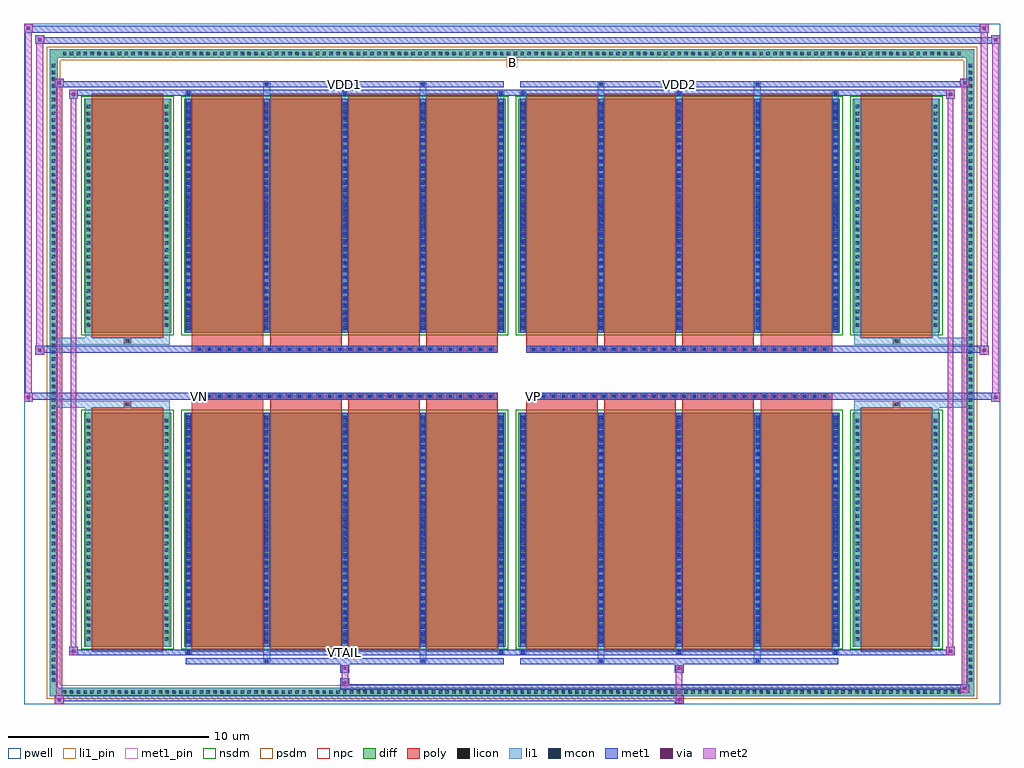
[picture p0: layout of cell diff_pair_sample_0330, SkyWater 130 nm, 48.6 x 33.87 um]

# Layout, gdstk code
import gdstk
lib = gdstk.Library(unit=1e-6, precision=5e-09)
def R(c, l, rs):  # rectangles x0, y0, x1, y1
    for r in rs: c.add(gdstk.rectangle(r[:2], r[2:], *l))
def A(c, l, x, y, w, h, nx, ny, dx, dy):  # array of equal rectangles
    R(c, l, [(x+i*dx, y+j*dy, x+i*dx+w, y+j*dy+h) for i in range(nx) for j in range(ny)])
def P(c, l, *ps):  # polygons
    for p in ps: c.add(gdstk.Polygon(p, *l))
pwell = (64, 44)
diff = (65, 20)
poly = (66, 20)
licon = (66, 44)
li1_pin = (67, 16)
li1 = (67, 20)
mcon = (67, 44)
met1_pin = (68, 16)
met1 = (68, 20)
via = (68, 44)
met2 = (69, 20)
nsdm = (93, 44)
psdm = (94, 20)
npc = (95, 20)

diff_pair_sample_0330 = lib.new_cell('diff_pair_sample_0330')
R(diff_pair_sample_0330, pwell, [(-24.3,-16.5,24.3,17.37), (-21.62,-14.69,-0.01,-0.805), (0.01,-14.69,21.62,-0.805), (-21.62,0.805,-0.01,14.69), (0.01,0.805,21.62,14.69)])
A(diff_pair_sample_0330, diff, -22.475, -16.1, 0.41, 0.41, 132, 2, 0.34, 31.79)
A(diff_pair_sample_0330, diff, -23.03, -15.505, 0.41, 0.41, 1, 91, 0, 0.34)
A(diff_pair_sample_0330, diff, 22.62, -15.505, 0.41, 0.41, 1, 91, 0, 0.34)
R(diff_pair_sample_0330, diff, [(-22.475,-16.1,22.475,-15.69), (-23.03,-15.505,-22.62,15.505), (22.62,-15.505,23.03,15.505), (-21.31,-13.645,-16.97,-1.985), (-16.33,-13.645,-0.32,-1.985), (0.32,-13.645,16.33,-1.985), (16.97,-13.645,21.31,-1.985), (-21.31,1.985,-16.97,13.645), (-16.33,1.985,-0.32,13.645), (0.32,1.985,16.33,13.645), (16.97,1.985,21.31,13.645), (-22.475,15.69,22.475,16.1)])
P(diff_pair_sample_0330, diff, [(23.03,16.1),(-23.03,16.1),(-23.03,-15.69),(-22.62,-15.69),(-22.62,15.69),(22.62,15.69),(22.62,-15.69),(-22.62,-15.69),(-23.03,-15.69),(-23.03,-16.1),(23.03,-16.1)])
A(diff_pair_sample_0330, poly, -15.94, -13.895, 3.56, 12.16, 4, 2, 3.89, 15.63)
A(diff_pair_sample_0330, poly, 0.71, -13.895, 3.56, 12.16, 4, 2, 3.89, 15.63)
A(diff_pair_sample_0330, poly, -15.94, -1.735, 3.56, 0.4, 4, 2, 3.89, 3.07)
A(diff_pair_sample_0330, poly, 0.71, -1.735, 3.56, 0.4, 4, 2, 3.89, 3.07)
A(diff_pair_sample_0330, poly, -15.74, -1.335, 0.33, 0.33, 30, 2, 0.5, 2.34)
A(diff_pair_sample_0330, poly, 0.91, -1.335, 0.33, 0.33, 30, 2, 0.5, 2.34)
R(diff_pair_sample_0330, poly, [(-20.92,-13.895,-17.36,-1.735), (17.36,-13.895,20.92,-1.735), (-19.305,-1.735,-18.975,-1.405), (-19.305,-1.735,-18.975,-1.405), (18.975,-1.735,19.305,-1.405), (18.975,-1.735,19.305,-1.405), (-15.94,-1.335,-0.71,-1.005), (0.71,-1.335,15.94,-1.005), (-15.94,1.005,-0.71,1.335), (0.71,1.005,15.94,1.335), (-19.305,1.405,-18.975,1.735), (-19.305,1.405,-18.975,1.735), (18.975,1.405,19.305,1.735), (18.975,1.405,19.305,1.735), (-20.92,1.735,-17.36,13.895), (17.36,1.735,20.92,13.895)])
A(diff_pair_sample_0330, licon, -22.355, -15.98, 0.17, 0.17, 132, 2, 0.34, 31.79)
A(diff_pair_sample_0330, licon, -22.91, -15.385, 0.17, 0.17, 1, 91, 0, 0.34)
A(diff_pair_sample_0330, licon, 22.74, -15.385, 0.17, 0.17, 1, 91, 0, 0.34)
A(diff_pair_sample_0330, licon, -21.17, -13.34, 0.17, 0.17, 1, 33, 0, 0.34)
A(diff_pair_sample_0330, licon, -17.28, -13.34, 0.17, 0.17, 1, 33, 0, 0.34)
A(diff_pair_sample_0330, licon, -16.19, -13.34, 0.17, 0.17, 5, 33, 3.89, 0.34)
A(diff_pair_sample_0330, licon, 0.46, -13.34, 0.17, 0.17, 5, 33, 3.89, 0.34)
A(diff_pair_sample_0330, licon, 17.11, -13.34, 0.17, 0.17, 1, 33, 0, 0.34)
A(diff_pair_sample_0330, licon, 21, -13.34, 0.17, 0.17, 1, 33, 0, 0.34)
A(diff_pair_sample_0330, licon, -15.66, -1.255, 0.17, 0.17, 30, 2, 0.5, 2.34)
A(diff_pair_sample_0330, licon, 0.99, -1.255, 0.17, 0.17, 30, 2, 0.5, 2.34)
A(diff_pair_sample_0330, licon, -21.17, 2.29, 0.17, 0.17, 1, 33, 0, 0.34)
A(diff_pair_sample_0330, licon, -17.28, 2.29, 0.17, 0.17, 1, 33, 0, 0.34)
A(diff_pair_sample_0330, licon, -16.19, 2.29, 0.17, 0.17, 5, 33, 3.89, 0.34)
A(diff_pair_sample_0330, licon, 0.46, 2.29, 0.17, 0.17, 5, 33, 3.89, 0.34)
A(diff_pair_sample_0330, licon, 17.11, 2.29, 0.17, 0.17, 1, 33, 0, 0.34)
A(diff_pair_sample_0330, licon, 21, 2.29, 0.17, 0.17, 1, 33, 0, 0.34)
R(diff_pair_sample_0330, licon, [(-19.225,-1.655,-19.055,-1.485), (19.055,-1.655,19.225,-1.485), (-19.225,1.485,-19.055,1.655), (19.055,1.485,19.225,1.655)])
R(diff_pair_sample_0330, li1_pin, [(-0.25,15.19,0.25,15.69)])
A(diff_pair_sample_0330, li1, -22.435, -16.06, 0.33, 0.33, 132, 2, 0.34, 31.79)
A(diff_pair_sample_0330, li1, -22.99, -15.465, 0.33, 0.33, 1, 91, 0, 0.34)
A(diff_pair_sample_0330, li1, 22.66, -15.465, 0.33, 0.33, 1, 91, 0, 0.34)
A(diff_pair_sample_0330, li1, -16.27, -14.02, 0.33, 0.375, 3, 2, 7.78, 27.665)
A(diff_pair_sample_0330, li1, -16.19, -14.02, 0.17, 0.17, 3, 2, 7.78, 27.87)
A(diff_pair_sample_0330, li1, 0.38, -14.02, 0.33, 0.375, 3, 2, 7.78, 27.665)
A(diff_pair_sample_0330, li1, 0.46, -14.02, 0.17, 0.17, 3, 2, 7.78, 27.87)
A(diff_pair_sample_0330, li1, -16.27, -13.645, 0.33, 11.66, 5, 2, 3.89, 15.63)
A(diff_pair_sample_0330, li1, 0.38, -13.645, 0.33, 11.66, 5, 2, 3.89, 15.63)
A(diff_pair_sample_0330, li1, -16.19, -13.48, 0.17, 0.17, 5, 32, 3.89, 0.36)
A(diff_pair_sample_0330, li1, -16.19, -13.48, 0.17, 11.33, 5, 2, 3.89, 15.63)
A(diff_pair_sample_0330, li1, 0.46, -13.48, 0.17, 0.17, 5, 32, 3.89, 0.36)
A(diff_pair_sample_0330, li1, 0.46, -13.48, 0.17, 11.33, 5, 2, 3.89, 15.63)
A(diff_pair_sample_0330, li1, -21.25, -13.42, 0.33, 0.33, 1, 33, 0, 0.34)
A(diff_pair_sample_0330, li1, -17.36, -13.42, 0.33, 0.33, 1, 33, 0, 0.34)
A(diff_pair_sample_0330, li1, -16.27, -13.42, 0.33, 0.33, 5, 33, 3.89, 0.34)
A(diff_pair_sample_0330, li1, 0.38, -13.42, 0.33, 0.33, 5, 33, 3.89, 0.34)
A(diff_pair_sample_0330, li1, 17.03, -13.42, 0.33, 0.33, 1, 33, 0, 0.34)
A(diff_pair_sample_0330, li1, 20.92, -13.42, 0.33, 0.33, 1, 33, 0, 0.34)
A(diff_pair_sample_0330, li1, -15.74, -1.335, 0.33, 0.33, 30, 2, 0.5, 2.34)
A(diff_pair_sample_0330, li1, 0.91, -1.335, 0.33, 0.33, 30, 2, 0.5, 2.34)
A(diff_pair_sample_0330, li1, -16.19, 2.15, 0.17, 0.17, 5, 32, 3.89, 0.36)
A(diff_pair_sample_0330, li1, 0.46, 2.15, 0.17, 0.17, 5, 32, 3.89, 0.36)
A(diff_pair_sample_0330, li1, -21.25, 2.21, 0.33, 0.33, 1, 33, 0, 0.34)
A(diff_pair_sample_0330, li1, -17.36, 2.21, 0.33, 0.33, 1, 33, 0, 0.34)
A(diff_pair_sample_0330, li1, -16.27, 2.21, 0.33, 0.33, 5, 33, 3.89, 0.34)
A(diff_pair_sample_0330, li1, 0.38, 2.21, 0.33, 0.33, 5, 33, 3.89, 0.34)
A(diff_pair_sample_0330, li1, 17.03, 2.21, 0.33, 0.33, 1, 33, 0, 0.34)
A(diff_pair_sample_0330, li1, 20.92, 2.21, 0.33, 0.33, 1, 33, 0, 0.34)
R(diff_pair_sample_0330, li1, [(-23.03,-16.1,-22.62,-15.69), (-23.03,-16.1,-22.62,-15.69), (-22.62,-16.1,22.62,-15.69), (22.62,-16.1,23.03,-15.69), (22.62,-16.1,23.03,-15.69), (-23.03,-15.69,-22.62,15.69), (22.62,-15.69,23.03,15.69), (-12.38,-14.45,-12.05,-13.645), (-12.3,-14.45,-12.13,-14.28), (-4.6,-14.45,-4.27,-13.645), (-4.52,-14.45,-4.35,-14.28), (4.27,-14.45,4.6,-13.645), (4.35,-14.45,4.52,-14.28), (12.05,-14.45,12.38,-13.645), (12.13,-14.45,12.3,-14.28), (-21.25,-13.645,-20.92,-1.985), (-17.36,-13.645,-17.03,-1.985), (17.03,-13.645,17.36,-1.985), (20.92,-13.645,21.25,-1.985), (-21.25,-1.985,-20.92,-1.405), (-17.36,-1.985,-17.03,-1.405), (17.03,-1.985,17.36,-1.405), (20.92,-1.985,21.25,-1.405), (-23.03,-1.735,-19.305,-1.405), (-21.25,-1.735,-19.305,-1.405), (-19.305,-1.735,-18.975,-1.405), (-18.975,-1.735,-17.03,-1.405), (17.03,-1.735,18.975,-1.405), (18.975,-1.735,19.305,-1.405), (18.975,-1.735,23.03,-1.405), (19.305,-1.735,21.25,-1.405), (-23.03,1.405,-19.305,1.735), (-21.25,1.405,-19.305,1.735), (-21.25,1.405,-20.92,1.985), (-19.305,1.405,-18.975,1.735), (-18.975,1.405,-17.03,1.735), (-17.36,1.405,-17.03,1.985), (17.03,1.405,18.975,1.735), (17.03,1.405,17.36,1.985), (18.975,1.405,19.305,1.735), (18.975,1.405,23.03,1.735), (19.305,1.405,21.25,1.735), (20.92,1.405,21.25,1.985), (-21.25,1.985,-20.92,13.645), (-17.36,1.985,-17.03,13.645), (17.03,1.985,17.36,13.645), (20.92,1.985,21.25,13.645), (-12.38,13.645,-12.05,14.45), (-4.6,13.645,-4.27,14.45), (4.27,13.645,4.6,14.45), (12.05,13.645,12.38,14.45), (-12.3,14.28,-12.13,14.45), (-4.52,14.28,-4.35,14.45), (4.35,14.28,4.52,14.45), (12.13,14.28,12.3,14.45), (-23.03,15.69,-22.62,16.1), (-23.03,15.69,-22.62,16.1), (-22.62,15.69,22.62,16.1), (22.62,15.69,23.03,16.1), (22.62,15.69,23.03,16.1)])
A(diff_pair_sample_0330, mcon, -16.19, -14.02, 0.17, 0.17, 3, 2, 7.78, 27.87)
A(diff_pair_sample_0330, mcon, 0.46, -14.02, 0.17, 0.17, 3, 2, 7.78, 27.87)
A(diff_pair_sample_0330, mcon, -16.19, -13.48, 0.17, 0.17, 5, 32, 3.89, 0.36)
A(diff_pair_sample_0330, mcon, 0.46, -13.48, 0.17, 0.17, 5, 32, 3.89, 0.36)
A(diff_pair_sample_0330, mcon, -15.66, -1.255, 0.17, 0.17, 30, 2, 0.5, 2.34)
A(diff_pair_sample_0330, mcon, 0.99, -1.255, 0.17, 0.17, 30, 2, 0.5, 2.34)
A(diff_pair_sample_0330, mcon, -16.19, 2.15, 0.17, 0.17, 5, 32, 3.89, 0.36)
A(diff_pair_sample_0330, mcon, 0.46, 2.15, 0.17, 0.17, 5, 32, 3.89, 0.36)
R(diff_pair_sample_0330, mcon, [(-12.3,-14.45,-12.13,-14.28), (-4.52,-14.45,-4.35,-14.28), (4.35,-14.45,4.52,-14.28), (12.13,-14.45,12.3,-14.28), (-12.3,14.28,-12.13,14.45), (-4.52,14.28,-4.35,14.45), (4.35,14.28,4.52,14.45), (12.13,14.28,12.3,14.45)])
R(diff_pair_sample_0330, met1_pin, [(-8.46,-14.06,-8.19,-13.79), (-15.71,-1.295,-15.44,-1.025), (0.94,-1.295,1.21,-1.025), (-8.46,14.24,-8.19,14.51), (8.19,14.24,8.46,14.51)])
A(diff_pair_sample_0330, met1, -16.25, -14.08, 0.29, 0.29, 3, 2, 7.78, 27.87)
A(diff_pair_sample_0330, met1, 0.4, -14.08, 0.29, 0.29, 3, 2, 7.78, 27.87)
A(diff_pair_sample_0330, met1, -16.25, -13.645, 0.29, 11.66, 5, 2, 3.89, 15.63)
A(diff_pair_sample_0330, met1, 0.4, -13.645, 0.29, 11.66, 5, 2, 3.89, 15.63)
A(diff_pair_sample_0330, met1, -16.25, -13.54, 0.29, 0.29, 5, 32, 3.89, 0.36)
A(diff_pair_sample_0330, met1, 0.4, -13.54, 0.29, 0.29, 5, 32, 3.89, 0.36)
A(diff_pair_sample_0330, met1, -15.72, -1.315, 0.29, 0.29, 30, 2, 0.5, 2.34)
A(diff_pair_sample_0330, met1, 0.93, -1.315, 0.29, 0.29, 30, 2, 0.5, 2.34)
A(diff_pair_sample_0330, met1, -16.25, 2.09, 0.29, 0.29, 5, 32, 3.89, 0.36)
A(diff_pair_sample_0330, met1, 0.4, 2.09, 0.29, 0.29, 5, 32, 3.89, 0.36)
R(diff_pair_sample_0330, met1, [(-22.76,-16.5,-22.33,-16.07), (8.11,-16.5,8.54,-16.07), (-22.76,-16.36,8.54,-16.07), (22.33,-15.93,22.76,-15.5), (-8.54,-15.79,22.76,-15.5), (-8.54,-15.65,-8.11,-15.22), (-8.54,-14.94,-8.11,-14.51), (8.11,-14.94,8.54,-14.51), (-16.25,-14.51,-0.4,-14.22), (-12.36,-14.51,-12.07,-14.22), (-4.58,-14.51,-4.29,-14.22), (0.4,-14.51,16.25,-14.22), (4.29,-14.51,4.58,-14.22), (12.07,-14.51,12.36,-14.22), (-22.05,-14.08,-21.62,-13.65), (-22.05,-14.08,-16.25,-13.79), (-16.25,-14.08,-0.4,-13.79), (-0.4,-14.08,0.4,-13.79), (0.4,-14.08,16.25,-13.79), (16.25,-14.08,22.05,-13.79), (21.62,-14.08,22.05,-13.65), (-24.3,-1.435,-23.87,-1.005), (23.87,-1.435,24.3,-1.005), (-24.3,-1.335,-0.71,-1.005), (-15.94,-1.335,-0.71,-1.005), (0.71,-1.335,15.94,-1.005), (0.71,-1.335,24.3,-1.005), (-23.73,0.905,-23.3,1.335), (23.3,0.905,23.73,1.335), (-23.73,1.005,-15.94,1.335), (-15.94,1.005,-0.71,1.335), (0.71,1.005,15.94,1.335), (15.94,1.005,23.73,1.335), (-22.05,13.65,-21.62,14.08), (21.62,13.65,22.05,14.08), (-22.05,13.79,-16.25,14.08), (-16.25,13.79,-0.4,14.08), (-0.4,13.79,0.4,14.08), (0.4,13.79,16.25,14.08), (16.25,13.79,22.05,14.08), (-22.76,14.22,-22.33,14.65), (-22.76,14.22,-16.25,14.51), (-16.25,14.22,-0.4,14.51), (-12.36,14.22,-12.07,14.51), (-4.58,14.22,-4.29,14.51), (0.4,14.22,16.25,14.51), (4.29,14.22,4.58,14.51), (12.07,14.22,12.36,14.51), (16.25,14.22,22.76,14.51), (22.33,14.22,22.76,14.65), (-23.73,16.37,-23.3,16.8), (-23.73,16.37,-21.62,16.7), (-21.62,16.37,21.62,16.7), (21.62,16.37,24.3,16.7), (23.87,16.37,24.3,16.8), (-24.3,16.94,-23.87,17.37), (-24.3,16.94,-21.62,17.27), (-21.62,16.94,21.62,17.27), (21.62,16.94,23.73,17.27), (23.3,16.94,23.73,17.37)])
R(diff_pair_sample_0330, via, [(-22.62,-16.36,-22.47,-16.21), (8.25,-16.36,8.4,-16.21), (22.47,-15.79,22.62,-15.64), (-8.4,-15.51,-8.25,-15.36), (-8.4,-14.8,-8.25,-14.65), (8.25,-14.8,8.4,-14.65), (-21.91,-13.94,-21.76,-13.79), (21.76,-13.94,21.91,-13.79), (-24.16,-1.295,-24.01,-1.145), (24.01,-1.295,24.16,-1.145), (-23.59,1.045,-23.44,1.195), (23.44,1.045,23.59,1.195), (-21.91,13.79,-21.76,13.94), (21.76,13.79,21.91,13.94), (-22.62,14.36,-22.47,14.51), (22.47,14.36,22.62,14.51), (-23.59,16.51,-23.44,16.66), (24.01,16.51,24.16,16.66), (-24.16,17.08,-24.01,17.23), (23.44,17.08,23.59,17.23)])
R(diff_pair_sample_0330, met2, [(-22.76,-16.5,-22.33,-16.07), (-22.69,-16.5,-22.4,14.65), (-22.4,-16.5,-22.33,-16.07), (-22.71,-16.45,-22.38,-16.12), (8.16,-16.45,8.49,-16.12), (8.16,-16.12,8.49,-14.89), (22.33,-15.93,22.76,-15.5), (22.4,-15.93,22.69,14.65), (22.69,-15.93,22.76,-15.5), (22.38,-15.88,22.71,-15.55), (-8.49,-15.6,-8.16,-15.27), (-8.49,-15.27,-8.16,-14.89), (-8.49,-14.89,-8.16,-14.56), (8.16,-14.89,8.49,-14.56), (-22.05,-14.08,-21.62,-13.65), (-21.98,-14.08,-21.69,14.08), (-21.69,-14.08,-21.62,-13.65), (21.62,-14.08,22.05,-13.65), (21.69,-14.08,21.98,14.08), (21.98,-14.08,22.05,-13.65), (-22,-14.03,-21.67,-13.7), (21.67,-14.03,22,-13.7), (-24.3,-1.435,-23.87,-1.005), (-24.25,-1.435,-23.92,17.37), (-23.92,-1.435,-23.87,-1.005), (23.87,-1.435,24.3,-1.005), (23.92,-1.435,24.25,16.8), (24.25,-1.435,24.3,-1.005), (-24.25,-1.385,-23.92,-1.055), (23.92,-1.385,24.25,-1.055), (-23.73,0.905,-23.3,1.335), (-23.68,0.905,-23.35,16.8), (-23.35,0.905,-23.3,1.335), (23.3,0.905,23.73,1.335), (23.35,0.905,23.68,17.37), (23.68,0.905,23.73,1.335), (-23.68,0.955,-23.35,1.285), (23.35,0.955,23.68,1.285), (-22.05,13.65,-21.62,14.08), (-21.69,13.65,-21.62,14.08), (21.62,13.65,22.05,14.08), (21.98,13.65,22.05,14.08), (-22,13.7,-21.67,14.03), (21.67,13.7,22,14.03), (-22.76,14.22,-22.33,14.65), (-22.4,14.22,-22.33,14.65), (22.33,14.22,22.76,14.65), (22.69,14.22,22.76,14.65), (-22.71,14.27,-22.38,14.6), (22.38,14.27,22.71,14.6), (-23.73,16.37,-23.3,16.8), (-23.35,16.37,-23.3,16.8), (23.87,16.37,24.3,16.8), (24.25,16.37,24.3,16.8), (-23.68,16.42,-23.35,16.75), (23.92,16.42,24.25,16.75), (-24.3,16.94,-23.87,17.37), (-23.92,16.94,-23.87,17.37), (23.3,16.94,23.73,17.37), (23.68,16.94,23.73,17.37), (-24.25,16.99,-23.92,17.32), (23.35,16.99,23.68,17.32)])
R(diff_pair_sample_0330, nsdm, [(-21.44,-13.775,-16.84,-1.855), (-16.46,-13.775,-0.19,-1.855), (0.19,-13.775,16.46,-1.855), (16.84,-13.775,21.44,-1.855), (-21.44,1.855,-16.84,13.775), (-16.46,1.855,-0.19,13.775), (0.19,1.855,16.46,13.775), (16.84,1.855,21.44,13.775)])
P(diff_pair_sample_0330, psdm, [(23.16,16.23),(-23.16,16.23),(-23.16,-15.56),(-22.49,-15.56),(-22.49,15.56),(22.49,15.56),(22.49,-15.56),(-22.49,-15.56),(-23.16,-15.56),(-23.16,-16.23),(23.16,-16.23)])
A(diff_pair_sample_0330, npc, -15.76, -1.355, 0.37, 0.37, 30, 2, 0.5, 2.34)
A(diff_pair_sample_0330, npc, 0.89, -1.355, 0.37, 0.37, 30, 2, 0.5, 2.34)
R(diff_pair_sample_0330, npc, [(-19.325,-1.755,-18.955,-1.385), (18.955,-1.755,19.325,-1.385), (-15.76,-1.355,-14.89,-0.985), (-15.76,-1.355,-14.89,-0.985), (-15.26,-1.355,-14.39,-0.985), (-15.26,-1.355,-14.39,-0.985), (-14.76,-1.355,-13.89,-0.985), (-14.76,-1.355,-13.89,-0.985), (-14.26,-1.355,-13.39,-0.985), (-14.26,-1.355,-13.39,-0.985), (-13.76,-1.355,-12.89,-0.985), (-13.76,-1.355,-12.89,-0.985), (-13.26,-1.355,-12.39,-0.985), (-13.26,-1.355,-12.39,-0.985), (-12.76,-1.355,-11.89,-0.985), (-12.76,-1.355,-11.89,-0.985), (-12.26,-1.355,-11.39,-0.985), (-12.26,-1.355,-11.39,-0.985), (-11.76,-1.355,-10.89,-0.985), (-11.76,-1.355,-10.89,-0.985), (-11.26,-1.355,-10.39,-0.985), (-11.26,-1.355,-10.39,-0.985), (-10.76,-1.355,-9.89,-0.985), (-10.76,-1.355,-9.89,-0.985), (-10.26,-1.355,-9.39,-0.985), (-10.26,-1.355,-9.39,-0.985), (-9.76,-1.355,-8.89,-0.985), (-9.76,-1.355,-8.89,-0.985), (-9.26,-1.355,-8.39,-0.985), (-9.26,-1.355,-8.39,-0.985), (-8.76,-1.355,-7.89,-0.985), (-8.76,-1.355,-7.89,-0.985), (-8.26,-1.355,-7.39,-0.985), (-8.26,-1.355,-7.39,-0.985), (-7.76,-1.355,-6.89,-0.985), (-7.76,-1.355,-6.89,-0.985), (-7.26,-1.355,-6.39,-0.985), (-7.26,-1.355,-6.39,-0.985), (-6.76,-1.355,-5.89,-0.985), (-6.76,-1.355,-5.89,-0.985), (-6.26,-1.355,-5.39,-0.985), (-6.26,-1.355,-5.39,-0.985), (-5.76,-1.355,-4.89,-0.985), (-5.76,-1.355,-4.89,-0.985), (-5.26,-1.355,-4.39,-0.985), (-5.26,-1.355,-4.39,-0.985), (-4.76,-1.355,-3.89,-0.985), (-4.76,-1.355,-3.89,-0.985), (-4.26,-1.355,-3.39,-0.985), (-4.26,-1.355,-3.39,-0.985), (-3.76,-1.355,-2.89,-0.985), (-3.76,-1.355,-2.89,-0.985), (-3.26,-1.355,-2.39,-0.985), (-3.26,-1.355,-2.39,-0.985), (-2.76,-1.355,-1.89,-0.985), (-2.76,-1.355,-1.89,-0.985), (-2.26,-1.355,-1.39,-0.985), (-2.26,-1.355,-1.39,-0.985), (-1.76,-1.355,-0.89,-0.985), (-1.76,-1.355,-0.89,-0.985), (0.89,-1.355,1.76,-0.985), (0.89,-1.355,1.76,-0.985), (1.39,-1.355,2.26,-0.985), (1.39,-1.355,2.26,-0.985), (1.89,-1.355,2.76,-0.985), (1.89,-1.355,2.76,-0.985), (2.39,-1.355,3.26,-0.985), (2.39,-1.355,3.26,-0.985), (2.89,-1.355,3.76,-0.985), (2.89,-1.355,3.76,-0.985), (3.39,-1.355,4.26,-0.985), (3.39,-1.355,4.26,-0.985), (3.89,-1.355,4.76,-0.985), (3.89,-1.355,4.76,-0.985), (4.39,-1.355,5.26,-0.985), (4.39,-1.355,5.26,-0.985), (4.89,-1.355,5.76,-0.985), (4.89,-1.355,5.76,-0.985), (5.39,-1.355,6.26,-0.985), (5.39,-1.355,6.26,-0.985), (5.89,-1.355,6.76,-0.985), (5.89,-1.355,6.76,-0.985), (6.39,-1.355,7.26,-0.985), (6.39,-1.355,7.26,-0.985), (6.89,-1.355,7.76,-0.985), (6.89,-1.355,7.76,-0.985), (7.39,-1.355,8.26,-0.985), (7.39,-1.355,8.26,-0.985), (7.89,-1.355,8.76,-0.985), (7.89,-1.355,8.76,-0.985), (8.39,-1.355,9.26,-0.985), (8.39,-1.355,9.26,-0.985), (8.89,-1.355,9.76,-0.985), (8.89,-1.355,9.76,-0.985), (9.39,-1.355,10.26,-0.985), (9.39,-1.355,10.26,-0.985), (9.89,-1.355,10.76,-0.985), (9.89,-1.355,10.76,-0.985), (10.39,-1.355,11.26,-0.985), (10.39,-1.355,11.26,-0.985), (10.89,-1.355,11.76,-0.985), (10.89,-1.355,11.76,-0.985), (11.39,-1.355,12.26,-0.985), (11.39,-1.355,12.26,-0.985), (11.89,-1.355,12.76,-0.985), (11.89,-1.355,12.76,-0.985), (12.39,-1.355,13.26,-0.985), (12.39,-1.355,13.26,-0.985), (12.89,-1.355,13.76,-0.985), (12.89,-1.355,13.76,-0.985), (13.39,-1.355,14.26,-0.985), (13.39,-1.355,14.26,-0.985), (13.89,-1.355,14.76,-0.985), (13.89,-1.355,14.76,-0.985), (14.39,-1.355,15.26,-0.985), (14.39,-1.355,15.26,-0.985), (14.89,-1.355,15.76,-0.985), (14.89,-1.355,15.76,-0.985), (-15.76,0.985,-14.89,1.355), (-15.76,0.985,-14.89,1.355), (-15.26,0.985,-14.39,1.355), (-15.26,0.985,-14.39,1.355), (-14.76,0.985,-13.89,1.355), (-14.76,0.985,-13.89,1.355), (-14.26,0.985,-13.39,1.355), (-14.26,0.985,-13.39,1.355), (-13.76,0.985,-12.89,1.355), (-13.76,0.985,-12.89,1.355), (-13.26,0.985,-12.39,1.355), (-13.26,0.985,-12.39,1.355), (-12.76,0.985,-11.89,1.355), (-12.76,0.985,-11.89,1.355), (-12.26,0.985,-11.39,1.355), (-12.26,0.985,-11.39,1.355), (-11.76,0.985,-10.89,1.355), (-11.76,0.985,-10.89,1.355), (-11.26,0.985,-10.39,1.355), (-11.26,0.985,-10.39,1.355), (-10.76,0.985,-9.89,1.355), (-10.76,0.985,-9.89,1.355), (-10.26,0.985,-9.39,1.355), (-10.26,0.985,-9.39,1.355), (-9.76,0.985,-8.89,1.355), (-9.76,0.985,-8.89,1.355), (-9.26,0.985,-8.39,1.355), (-9.26,0.985,-8.39,1.355), (-8.76,0.985,-7.89,1.355), (-8.76,0.985,-7.89,1.355), (-8.26,0.985,-7.39,1.355), (-8.26,0.985,-7.39,1.355), (-7.76,0.985,-6.89,1.355), (-7.76,0.985,-6.89,1.355), (-7.26,0.985,-6.39,1.355), (-7.26,0.985,-6.39,1.355), (-6.76,0.985,-5.89,1.355), (-6.76,0.985,-5.89,1.355), (-6.26,0.985,-5.39,1.355), (-6.26,0.985,-5.39,1.355), (-5.76,0.985,-4.89,1.355), (-5.76,0.985,-4.89,1.355), (-5.26,0.985,-4.39,1.355), (-5.26,0.985,-4.39,1.355), (-4.76,0.985,-3.89,1.355), (-4.76,0.985,-3.89,1.355), (-4.26,0.985,-3.39,1.355), (-4.26,0.985,-3.39,1.355), (-3.76,0.985,-2.89,1.355), (-3.76,0.985,-2.89,1.355), (-3.26,0.985,-2.39,1.355), (-3.26,0.985,-2.39,1.355), (-2.76,0.985,-1.89,1.355), (-2.76,0.985,-1.89,1.355), (-2.26,0.985,-1.39,1.355), (-2.26,0.985,-1.39,1.355), (-1.76,0.985,-0.89,1.355), (-1.76,0.985,-0.89,1.355), (0.89,0.985,1.76,1.355), (0.89,0.985,1.76,1.355), (1.39,0.985,2.26,1.355), (1.39,0.985,2.26,1.355), (1.89,0.985,2.76,1.355), (1.89,0.985,2.76,1.355), (2.39,0.985,3.26,1.355), (2.39,0.985,3.26,1.355), (2.89,0.985,3.76,1.355), (2.89,0.985,3.76,1.355), (3.39,0.985,4.26,1.355), (3.39,0.985,4.26,1.355), (3.89,0.985,4.76,1.355), (3.89,0.985,4.76,1.355), (4.39,0.985,5.26,1.355), (4.39,0.985,5.26,1.355), (4.89,0.985,5.76,1.355), (4.89,0.985,5.76,1.355), (5.39,0.985,6.26,1.355), (5.39,0.985,6.26,1.355), (5.89,0.985,6.76,1.355), (5.89,0.985,6.76,1.355), (6.39,0.985,7.26,1.355), (6.39,0.985,7.26,1.355), (6.89,0.985,7.76,1.355), (6.89,0.985,7.76,1.355), (7.39,0.985,8.26,1.355), (7.39,0.985,8.26,1.355), (7.89,0.985,8.76,1.355), (7.89,0.985,8.76,1.355), (8.39,0.985,9.26,1.355), (8.39,0.985,9.26,1.355), (8.89,0.985,9.76,1.355), (8.89,0.985,9.76,1.355), (9.39,0.985,10.26,1.355), (9.39,0.985,10.26,1.355), (9.89,0.985,10.76,1.355), (9.89,0.985,10.76,1.355), (10.39,0.985,11.26,1.355), (10.39,0.985,11.26,1.355), (10.89,0.985,11.76,1.355), (10.89,0.985,11.76,1.355), (11.39,0.985,12.26,1.355), (11.39,0.985,12.26,1.355), (11.89,0.985,12.76,1.355), (11.89,0.985,12.76,1.355), (12.39,0.985,13.26,1.355), (12.39,0.985,13.26,1.355), (12.89,0.985,13.76,1.355), (12.89,0.985,13.76,1.355), (13.39,0.985,14.26,1.355), (13.39,0.985,14.26,1.355), (13.89,0.985,14.76,1.355), (13.89,0.985,14.76,1.355), (14.39,0.985,15.26,1.355), (14.39,0.985,15.26,1.355), (14.89,0.985,15.76,1.355), (14.89,0.985,15.76,1.355), (-19.325,1.385,-18.955,1.755), (18.955,1.385,19.325,1.755)])
diff_pair_sample_0330.add(gdstk.Label('VTAIL', (-8.325,-13.925), layer=68, texttype=5))
diff_pair_sample_0330.add(gdstk.Label('VN', (-15.575,-1.16), layer=68, texttype=5))
diff_pair_sample_0330.add(gdstk.Label('VP', (1.075,-1.16), layer=68, texttype=5))
diff_pair_sample_0330.add(gdstk.Label('B', (0,15.44), layer=67, texttype=5))
diff_pair_sample_0330.add(gdstk.Label('VDD2', (8.325,14.375), layer=68, texttype=5))
diff_pair_sample_0330.add(gdstk.Label('VDD1', (-8.325,14.375), layer=68, texttype=5))

lib.write_gds('diff_pair_sample_0330.gds')
